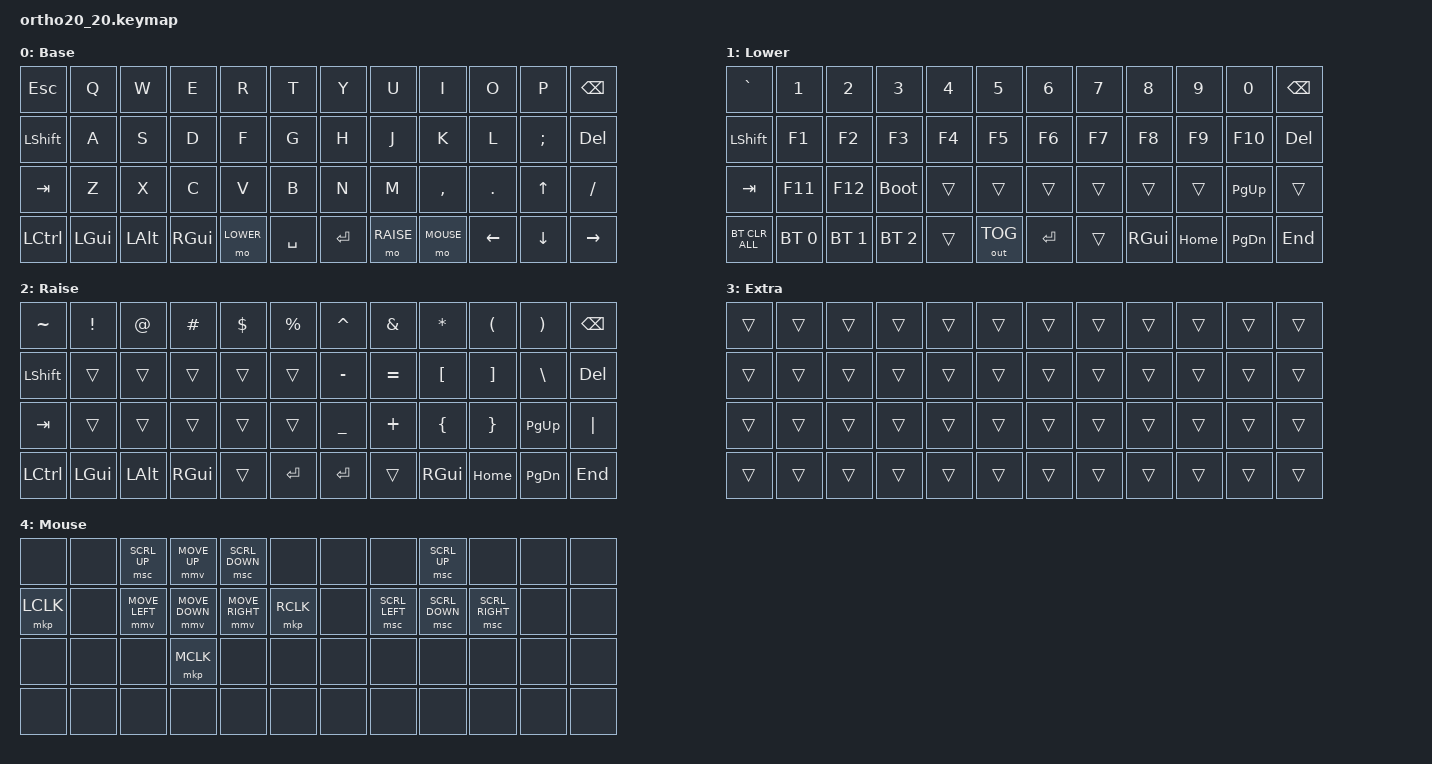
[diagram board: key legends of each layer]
#include <behaviors.dtsi>
#include <dt-bindings/zmk/keys.h>
#include <dt-bindings/zmk/bt.h>
#include <dt-bindings/zmk/outputs.h>
#include <dt-bindings/zmk/mouse.h>

#define BASE 0
#define LOWER 1
#define RAISE 2
#define EXTRA 3
#define MOUSE 4

/ {
    combos {
        compatible = "zmk,combos";
        combo_studio_unlock {
            timeout-ms = <50>;
            key-positions = <40 43>;
            bindings = <&studio_unlock>;
        };
    };

    keymap {
        compatible = "zmk,keymap";

        default_layer {
            display-name = "Base";
            // -----------------------------------------------------------
            // | ESC | Q  | W  | E  | R  | T  | Y  | U  | I  | O  | P  | BSPC|
            // | SHF | A  | S  | D  | F  | G  | H  | J  | K  | L  | ;  | DEL |
            // | TAB | Z  | X  | C  | V  | B  | N  | M  | ,  | .  | UP | /   |
            // | CTL | WIN| ALT| WIN| LWR| SPC| ENT| RSE| MSE| LFT| DWN| RGT |
            // -----------------------------------------------------------
            bindings = <
                &kp ESC   &kp Q     &kp W     &kp E     &kp R     &kp T       &kp Y     &kp U     &kp I      &kp O     &kp P     &kp BSPC
                &kp LSHFT &kp A     &kp S     &kp D     &kp F     &kp G       &kp H     &kp J     &kp K      &kp L     &kp SEMI  &kp DEL
                &kp TAB   &kp Z     &kp X     &kp C     &kp V     &kp B       &kp N     &kp M     &kp COMMA  &kp DOT   &kp UP    &kp FSLH
                &kp LCTRL &kp LGUI  &kp LALT  &kp RGUI  &mo LOWER &kp SPACE   &kp RET   &mo RAISE &mo MOUSE  &kp LEFT  &kp DOWN  &kp RIGHT
            >;
        };

        lower_layer {
            display-name = "Lower";
            bindings = <
                &kp GRAVE &kp N1    &kp N2    &kp N3    &kp N4    &kp N5      &kp N6    &kp N7    &kp N8     &kp N9    &kp N0    &kp BSPC
                &kp LSHFT &kp F1    &kp F2    &kp F3    &kp F4    &kp F5      &kp F6    &kp F7    &kp F8     &kp F9    &kp F10   &kp DEL
                &kp TAB   &kp F11   &kp F12   &bootloader &trans  &trans      &trans    &trans    &trans     &trans    &kp PG_UP &trans
                &bt BT_CLR_ALL &bt BT_SEL 0 &bt BT_SEL 1 &bt BT_SEL 2 &trans &out OUT_TOG &kp RET &trans &kp RGUI &kp HOME &kp PG_DN &kp END
            >;
        };

        raise_layer {
            display-name = "Raise";
            bindings = <
                &kp TILDE &kp EXCL  &kp AT    &kp HASH  &kp DLLR  &kp PRCNT   &kp CARET &kp AMPS  &kp STAR   &kp LPAR  &kp RPAR  &kp BSPC
                &kp LSHFT &trans    &trans    &trans    &trans    &trans      &kp MINUS &kp EQUAL &kp LBKT   &kp RBKT  &kp BSLH  &kp DEL
                &kp TAB   &trans    &trans    &trans    &trans    &trans      &kp UNDER &kp PLUS  &kp LBRC   &kp RBRC  &kp PG_UP &kp PIPE
                &kp LCTRL &kp LGUI  &kp LALT  &kp RGUI  &trans    &kp RET     &kp RET   &trans    &kp RGUI   &kp HOME  &kp PG_DN &kp END
            >;
        };

        extra_layer {
            display-name = "Extra";
            bindings = <
                &trans &trans &trans &trans &trans &trans   &trans &trans &trans &trans &trans &trans
                &trans &trans &trans &trans &trans &trans   &trans &trans &trans &trans &trans &trans
                &trans &trans &trans &trans &trans &trans   &trans &trans &trans &trans &trans &trans
                &trans &trans &trans &trans &trans &trans   &trans &trans &trans &trans &trans &trans
            >;
        };

        mouse_layer {
            display-name = "Mouse";
            // EDSFに基づいた移動、左ボタンA/クリックH、W/Rで垂直スクロールを割り当て
            bindings = <
                &none      &none     &msc SCRL_UP   &mmv MOVE_UP    &msc SCRL_DOWN  &none       &none          &none          &msc SCRL_UP   &none          &none          &none
                &mkp LCLK  &none     &mmv MOVE_LEFT &mmv MOVE_DOWN  &mmv MOVE_RIGHT &mkp RCLK   &none          &msc SCRL_LEFT &msc SCRL_DOWN &msc SCRL_RIGHT &none          &none
                &none      &none     &none          &mkp MCLK       &none           &none       &none          &none          &none          &none          &none          &none
                &none      &none     &none          &none           &none           &none       &none          &none          &none          &none          &none          &none
            >;
        };
    };
};
